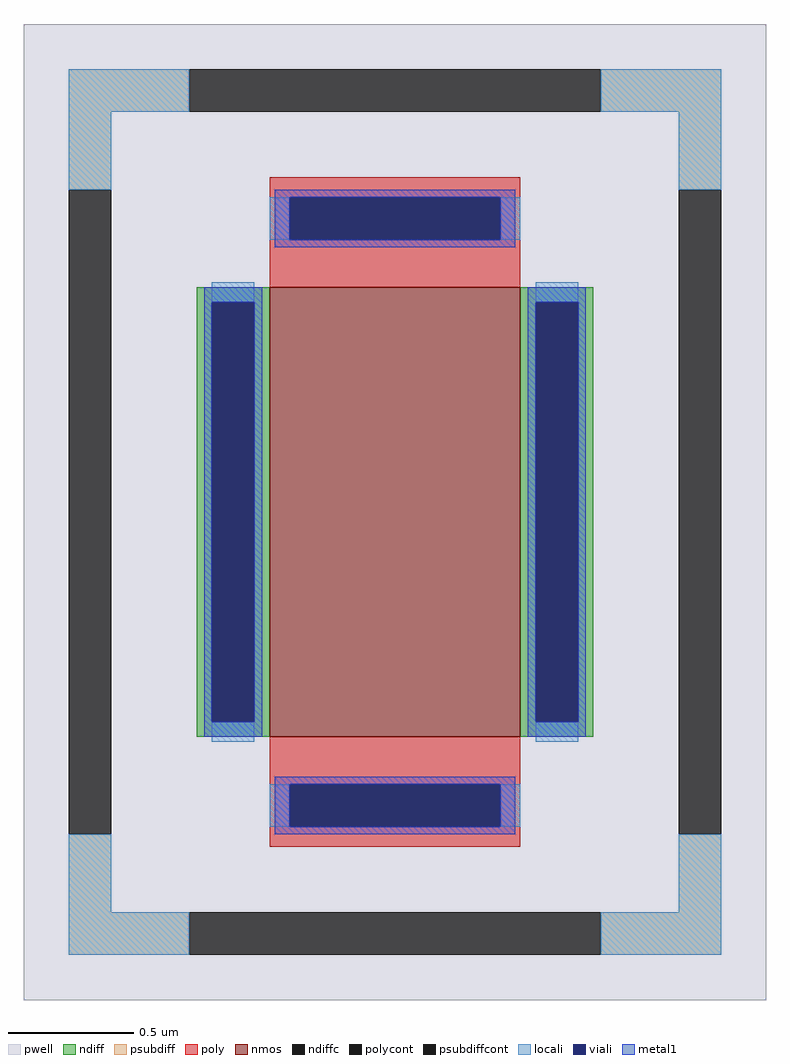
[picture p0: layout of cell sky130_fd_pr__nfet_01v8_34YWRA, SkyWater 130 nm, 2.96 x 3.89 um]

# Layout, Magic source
magic
tech sky130B
magscale 1 2
<< pwell >>
rect -296 -389 296 389
<< nmos >>
rect -100 -179 100 179
<< ndiff >>
rect -158 167 -100 179
rect -158 -167 -146 167
rect -112 -167 -100 167
rect -158 -179 -100 -167
rect 100 167 158 179
rect 100 -167 112 167
rect 146 -167 158 167
rect 100 -179 158 -167
<< ndiffc >>
rect -146 -167 -112 167
rect 112 -167 146 167
<< psubdiff >>
rect -260 319 -164 353
rect 164 319 260 353
rect -260 257 -226 319
rect 226 257 260 319
rect -260 -319 -226 -257
rect 226 -319 260 -257
rect -260 -353 -164 -319
rect 164 -353 260 -319
<< psubdiffcont >>
rect -164 319 164 353
rect -260 -257 -226 257
rect 226 -257 260 257
rect -164 -353 164 -319
<< poly >>
rect -100 251 100 267
rect -100 217 -84 251
rect 84 217 100 251
rect -100 179 100 217
rect -100 -217 100 -179
rect -100 -251 -84 -217
rect 84 -251 100 -217
rect -100 -267 100 -251
<< polycont >>
rect -84 217 84 251
rect -84 -251 84 -217
<< locali >>
rect -260 319 -164 353
rect 164 319 260 353
rect -260 257 -226 319
rect 226 257 260 319
rect -100 217 -84 251
rect 84 217 100 251
rect -146 167 -112 183
rect -146 -183 -112 -167
rect 112 167 146 183
rect 112 -183 146 -167
rect -100 -251 -84 -217
rect 84 -251 100 -217
rect -260 -319 -226 -257
rect 226 -319 260 -257
rect -260 -353 -164 -319
rect 164 -353 260 -319
<< viali >>
rect -84 217 84 251
rect -146 -167 -112 167
rect 112 -167 146 167
rect -84 -251 84 -217
<< metal1 >>
rect -96 251 96 257
rect -96 217 -84 251
rect 84 217 96 251
rect -96 211 96 217
rect -152 167 -106 179
rect -152 -167 -146 167
rect -112 -167 -106 167
rect -152 -179 -106 -167
rect 106 167 152 179
rect 106 -167 112 167
rect 146 -167 152 167
rect 106 -179 152 -167
rect -96 -217 96 -211
rect -96 -251 -84 -217
rect 84 -251 96 -217
rect -96 -257 96 -251
<< properties >>
string FIXED_BBOX -243 -336 243 336
string gencell sky130_fd_pr__nfet_01v8
string library sky130
string parameters w 1.79 l 1.0 m 1 nf 1 diffcov 100 polycov 100 guard 1 glc 1 grc 1 gtc 1 gbc 1 tbcov 100 rlcov 100 topc 1 botc 1 poverlap 0 doverlap 1 lmin 0.15 wmin 0.42 compatible {sky130_fd_pr__nfet_01v8 sky130_fd_pr__nfet_01v8_lvt  sky130_fd_bs_flash__special_sonosfet_star  sky130_fd_pr__nfet_g5v0d10v5 sky130_fd_pr__nfet_05v0_nvt  sky130_fd_pr__nfet_03v3_nvt} full_metal 1 viasrc 100 viadrn 100 viagate 100 viagb 0 viagr 0 viagl 0 viagt 0
<< end >>
